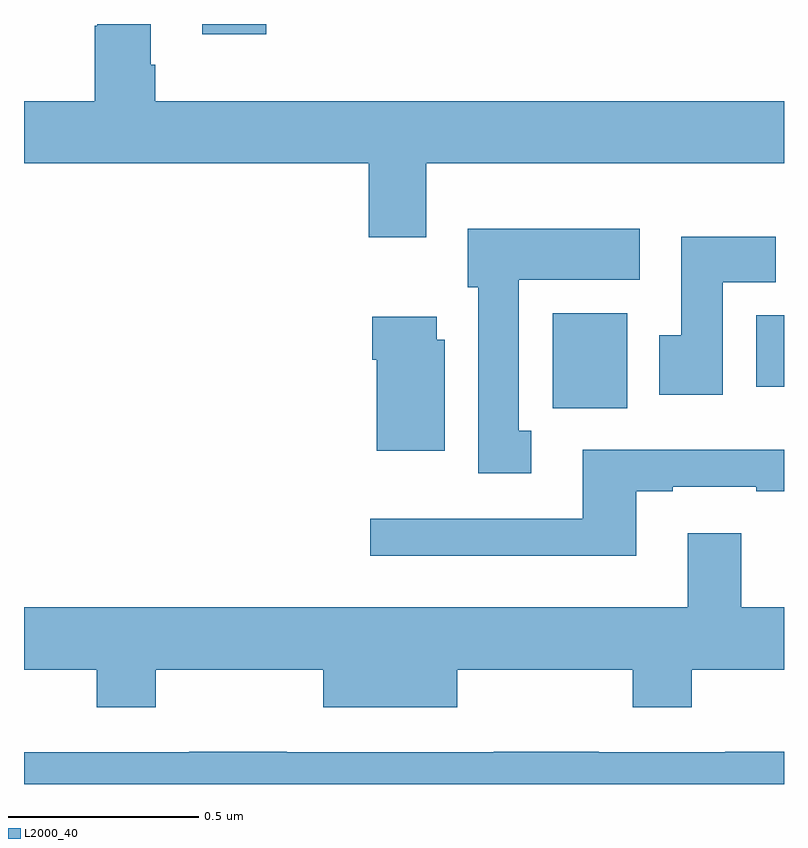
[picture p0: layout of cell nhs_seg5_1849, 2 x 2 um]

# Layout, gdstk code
import gdstk
lib = gdstk.Library(unit=1e-6, precision=1e-09)
def R(c, l, rs):  # rectangles x0, y0, x1, y1
    for r in rs: c.add(gdstk.rectangle(r[:2], r[2:], *l))
def P(c, l, *ps):  # polygons
    for p in ps: c.add(gdstk.Polygon(p, *l))
L2000_40 = (2000, 40)

nhs_seg5_1849 = lib.new_cell('nhs_seg5_1849')
R(nhs_seg5_1849, L2000_40, [(137.391,850.788,137.587,851.038), (137.927,850.844,138,851.032), (136.469,851.772,136.637,851.799)])
P(nhs_seg5_1849, L2000_40, [(137.059,851.432),(138,851.432),(138,851.596),(136.346,851.596),(136.346,851.692),(136.333,851.692),(136.333,851.799),(136.193,851.799),(136.193,851.795),(136.186,851.795),(136.186,851.596),(136,851.596),(136,851.432),(136.907,851.432),(136.907,851.238),(137.059,851.238)],
  [(137.335,850.729),(137.302,850.729),(137.302,851.126),(137.62,851.126),(137.62,851.26),(137.168,851.26),(137.168,851.106),(137.195,851.106),(137.195,850.617),(137.335,850.617)],
  [(137.839,851.12),(137.978,851.12),(137.978,851.239),(137.729,851.239),(137.729,850.98),(137.672,850.98),(137.672,850.824),(137.839,850.824)],
  [(137.107,850.968),(137.086,850.968),(137.086,851.029),(136.916,851.029),(136.916,850.916),(136.928,850.916),(136.928,850.676),(137.107,850.676)],
  [(137.611,850.569),(137.707,850.569),(137.707,850.581),(137.927,850.581),(137.927,850.569),(138,850.569),(138,850.678),(137.471,850.678),(137.471,850.497),(136.911,850.497),(136.911,850.4),(137.611,850.4)],
  [(136.347,850.1),(136.787,850.1),(136.787,850.001),(137.14,850.001),(137.14,850.1),(137.602,850.1),(137.602,850.001),(137.757,850.001),(137.757,850.1),(138,850.1),(138,850.264),(137.887,850.264),(137.887,850.459),(137.747,850.459),(137.747,850.264),(136,850.264),(136,850.1),(136.192,850.1),(136.192,850.001),(136.347,850.001)],
  [(138,849.884),(137.845,849.884),(137.845,849.882),(137.513,849.882),(137.513,849.884),(137.236,849.884),(137.236,849.882),(136.691,849.882),(136.691,849.884),(136.435,849.884),(136.435,849.882),(136,849.882),(136,849.799),(138,849.799)])

lib.write_gds('nhs_seg5_1849.gds')
